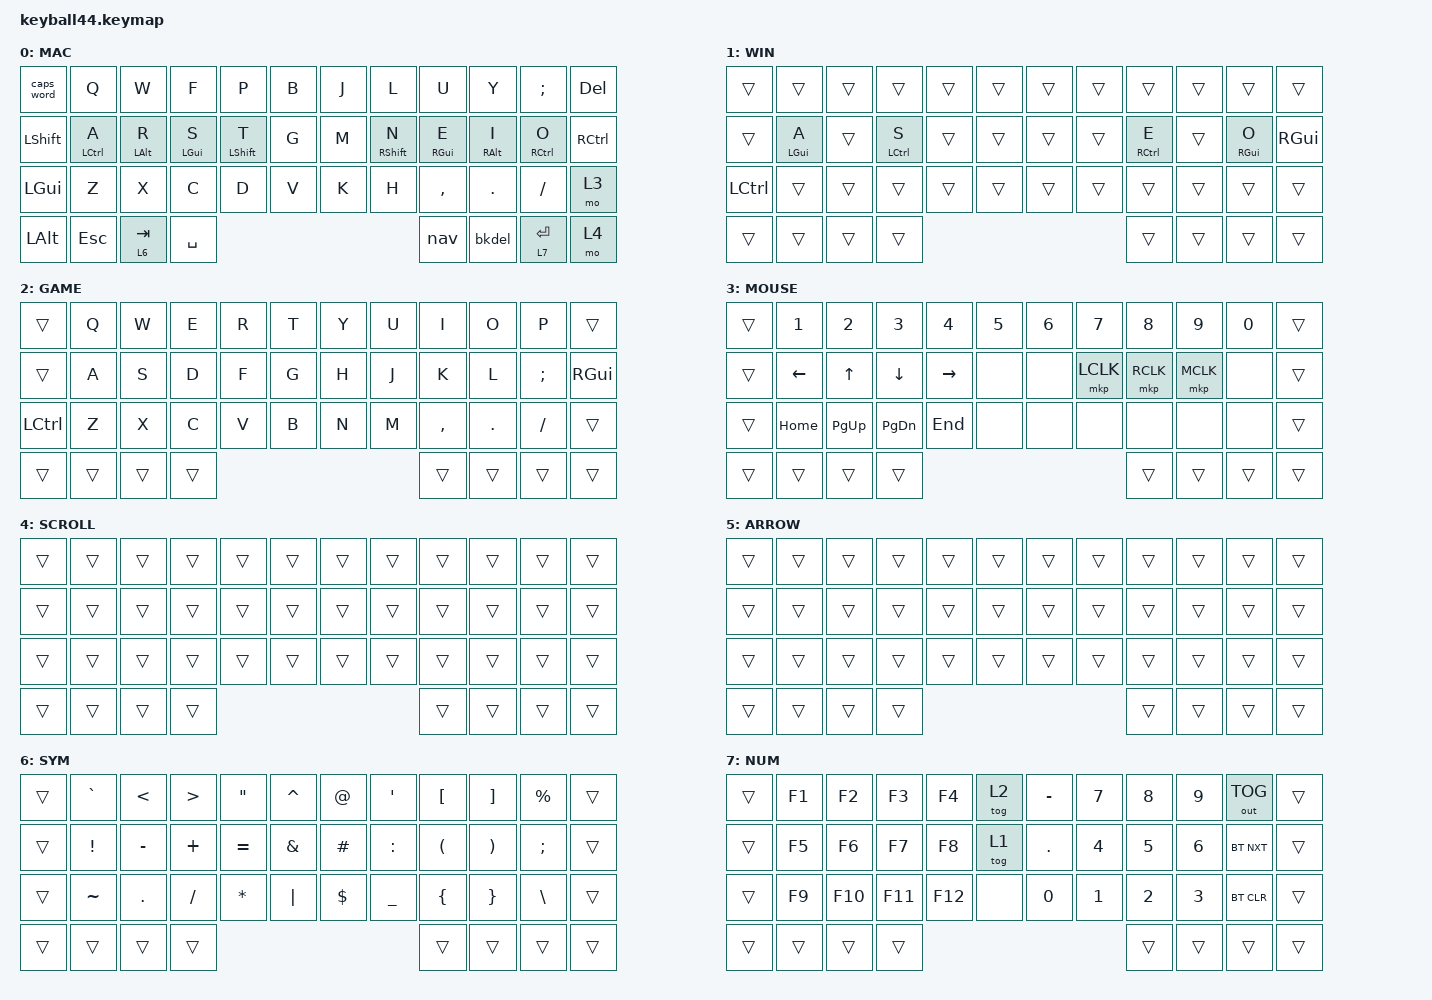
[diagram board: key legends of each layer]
#define DEFAULT 0
#define WIN     1
#define GAME    2
#define MOUSE   3
#define SCROLL  4
#define ARROW   5
#define SYM     6
#define NUM     7

#include <behaviors/mouse_keys.dtsi>
#include <dt-bindings/zmk/mouse.h>
#include <behaviors.dtsi>
#include <dt-bindings/zmk/bt.h>
#include <dt-bindings/zmk/keys.h>
#include <dt-bindings/zmk/outputs.h>
#include <dt-bindings/zmk/pointing.h>

#define KEYS_L   \
     0  1  2  3  4  5    \
    12 13 14 15 16 17    \
    24 25 26 27 28 29    \
    36
#define KEYS_R  \
     6  7  8  9 10 11 \
    18 19 20 21 22 23 \
    30 31 32 33 34 35 \
    43
#define THUMBS_L  \
    37 38 39 40
#define THUMBS_R \
    41 42

&trackball {
    scroll-layers = <SCROLL>;
    snipe-layers = <MOUSE>;

    arrows {
        layers = <ARROW>;
        bindings =
            <&kp RIGHT_ARROW>,
            <&kp LEFT_ARROW>,
            <&kp UP_ARROW>,
            <&kp DOWN_ARROW>;

        tick = <20>;
        wait-ms = <5>;
        tap-ms = <5>;
    };
};

&lt {
    flavor = "balanced";
    quick-tap-ms = <175>;
};

&caps_word { continue-list = <UNDERSCORE MINUS>; };

&sl { release-after-ms = <400>; };

/ {
    behaviors {
        cmqus: comma_question {
            compatible = "zmk,behavior-mod-morph";
            label = "COMMA_QUESTION";
            #binding-cells = <0>;
            bindings = <&kp COMMA>, <&kp QUESTION>;

            mods = <(MOD_LSFT|MOD_RSFT)>;
        };

        dtsmi: dot_semi {
            compatible = "zmk,behavior-mod-morph";
            label = "DOT_SEMI";
            #binding-cells = <0>;
            bindings = <&kp DOT>, <&kp SEMI>;

            mods = <(MOD_LSFT|MOD_RSFT)>;
        };

        bkdel: back_delete {
            compatible = "zmk,behavior-mod-morph";
            label = "BACK_DELETE";
            bindings = <&kp BACKSPACE>, <&kp DEL>;

            #binding-cells = <0>;
            mods = <(MOD_LSFT|MOD_RSFT)>;
        };

        shtl: shift_tap_left {
            compatible = "zmk,behavior-hold-tap";
            label = "SHIFT_TAP_LEFT";
            flavor = "balanced";
            hold-trigger-key-positions = <6 7 8 9 10 11 18 19 20 21 22 23 30 31 32 33 34 35 42 43 41 40 39 38 37>;
            hold-trigger-on-release;
            tapping-term-ms = <280>;
            quick-tap-ms = <175>;
            #binding-cells = <2>;
            bindings = <&kp>, <&kp>;
        };

        shtr: shift_tap_right {
            compatible = "zmk,behavior-hold-tap";
            flavor = "balanced";
            label = "SHIFT_TAP_RIGHT";
            hold-trigger-key-positions = <0 1 2 3 4 5 12 13 14 15 16 17 24 25 26 27 28 29 36 37 38 39 40 41 42>;
            hold-trigger-on-release;
            tapping-term-ms = <280>;
            quick-tap-ms = <175>;
            #binding-cells = <2>;
            bindings = <&kp>, <&kp>;
        };

        hml: home_mod_left {
            compatible = "zmk,behavior-hold-tap";
            label = "HOME_MOD_LEFT";
            flavor = "balanced";
            tapping-term-ms = <280>;
            quick-tap-ms = <175>;
            require-prior-idle-ms = <210>;
            #binding-cells = <2>;
            bindings = <&kp>, <&kp>;

            hold-trigger-key-positions = <6 7 8 9 10 11 18 19 20 21 22 23 30 31 32 33 34 35 42 43 41 40 39 38 37>;
            hold-trigger-on-release;
        };

        hmr: home_mod_right {
            compatible = "zmk,behavior-hold-tap";
            label = "HOME_MOD_RIGHT";
            flavor = "balanced";
            tapping-term-ms = <280>;
            quick-tap-ms = <175>;
            require-prior-idle-ms = <210>;
            #binding-cells = <2>;
            bindings = <&kp>, <&kp>;

            hold-trigger-key-positions = <0 1 2 3 4 5 12 13 14 15 16 17 24 25 26 27 28 29 36 37 38 39 40 41 42>;
            hold-trigger-on-release;
        };

        nav: nav {
            compatible = "zmk,behavior-tap-dance";
            label = "NAV";
            #binding-cells = <0>;
            bindings = <&mo 3>, <&mo 4>, <&mo 5>;

            tapping-term-ms = <280>;
        };
    };

    keymap {
        compatible = "zmk,keymap";

        default_layer {
            label = "MAC";
            bindings = <
&caps_word      &kp Q         &kp W            &kp F            &kp P               &kp B              &kp J        &kp L                &kp U             &kp Y             &kp SEMICOLON  &kp DELETE
&kp LEFT_SHIFT  &hml LCTRL A  &hml LEFT_ALT R  &hml LEFT_GUI S  &shtl LEFT_SHIFT T  &kp G              &kp M        &shtr RIGHT_SHIFT N  &hmr RIGHT_GUI E  &hmr RIGHT_ALT I  &hmr RCTRL O   &kp RIGHT_CONTROL
&kp LEFT_GUI    &kp Z         &kp X            &kp C            &kp D               &kp V              &kp K        &kp H                &kp COMMA         &kp PERIOD        &kp SLASH      &mo 3
&kp LEFT_ALT    &kp ESCAPE    &lt 6 TAB        &kp SPACE        &nav                           &bkdel  &lt 7 ENTER                                                                          &mo 4
            >;
        };

        windows_layer {
            label = "WIN";
            bindings = <
&trans            &trans           &trans  &trans        &trans  &trans              &trans  &trans  &trans        &trans  &trans            &trans
&trans            &hml LEFT_GUI A  &trans  &hml LCTRL S  &trans  &trans              &trans  &trans  &hmr RCTRL E  &trans  &hmr RIGHT_GUI O  &kp RIGHT_GUI
&kp LEFT_CONTROL  &trans           &trans  &trans        &trans  &trans              &trans  &trans  &trans        &trans  &trans            &trans
&trans            &trans           &trans  &trans        &trans              &trans  &trans                                                  &trans
            >;
        };

        game_layer {
            label = "GAME";
            bindings = <
&trans            &kp Q   &kp W   &kp E   &kp R   &kp T              &kp Y   &kp U  &kp I      &kp O    &kp P      &trans
&trans            &kp A   &kp S   &kp D   &kp F   &kp G              &kp H   &kp J  &kp K      &kp L    &kp SEMI   &kp RIGHT_GUI
&kp LEFT_CONTROL  &kp Z   &kp X   &kp C   &kp V   &kp B              &kp N   &kp M  &kp COMMA  &kp DOT  &kp SLASH  &trans
&trans            &trans  &trans  &trans  &trans             &trans  &trans                                        &trans
            >;
        };

        mouse_layer {
            label = "MOUSE";
            bindings = <
&trans  &kp NUMBER_1  &kp NUMBER_2  &kp NUMBER_3    &kp NUMBER_4  &kp NUMBER_5              &kp NUMBER_6  &kp NUMBER_7  &kp NUMBER_8  &kp NUMBER_9  &kp NUMBER_0  &trans
&trans  &kp LEFT      &kp UP_ARROW  &kp DOWN_ARROW  &kp RIGHT     &none                     &none         &mkp LCLK     &mkp RCLK     &mkp MCLK     &none         &trans
&trans  &kp HOME      &kp PAGE_UP   &kp PAGE_DOWN   &kp END       &none                     &none         &none         &none         &none         &none         &trans
&trans  &trans        &trans        &trans          &trans                          &trans  &trans                                                                &trans
            >;
        };

        scroll_layer {
            label = "SCROLL";
            bindings = <
&trans  &trans  &trans  &trans  &trans  &trans              &trans  &trans  &trans  &trans  &trans  &trans
&trans  &trans  &trans  &trans  &trans  &trans              &trans  &trans  &trans  &trans  &trans  &trans
&trans  &trans  &trans  &trans  &trans  &trans              &trans  &trans  &trans  &trans  &trans  &trans
&trans  &trans  &trans  &trans  &trans              &trans  &trans                                  &trans
            >;
        };

        arrow_layer {
            label = "ARROW";
            bindings = <
&trans  &trans  &trans  &trans  &trans  &trans              &trans  &trans  &trans  &trans  &trans  &trans
&trans  &trans  &trans  &trans  &trans  &trans              &trans  &trans  &trans  &trans  &trans  &trans
&trans  &trans  &trans  &trans  &trans  &trans              &trans  &trans  &trans  &trans  &trans  &trans
&trans  &trans  &trans  &trans  &trans              &trans  &trans                                  &trans
            >;
        };

        symbol_layer {
            label = "SYM";
            bindings = <
&trans  &kp GRAVE        &kp LESS_THAN  &kp GREATER_THAN  &kp DOUBLE_QUOTES  &kp CARET              &kp AT      &kp SINGLE_QUOTE  &kp LEFT_BRACKET      &kp RIGHT_BRACKET      &kp PERCENT    &trans
&trans  &kp EXCLAMATION  &kp MINUS      &kp PLUS          &kp EQUAL          &kp AMPS               &kp HASH    &kp COLON         &kp LEFT_PARENTHESIS  &kp RIGHT_PARENTHESIS  &kp SEMICOLON  &trans
&trans  &kp TILDE        &kp PERIOD     &kp SLASH         &kp STAR           &kp PIPE               &kp DOLLAR  &kp UNDER         &kp LEFT_BRACE        &kp RIGHT_BRACE        &kp BACKSLASH  &trans
&trans  &trans           &trans         &trans            &trans                            &trans  &trans                                                                                    &trans
            >;
        };

        number_layer {
            label = "NUM";
            bindings = <
&trans  &kp F1  &kp F2   &kp F3   &kp F4   &tog 2              &kp MINUS   &kp N7        &kp NUMBER_8  &kp NUMBER_9  &out OUT_TOG  &trans
&trans  &kp F5  &kp F6   &kp F7   &kp F8   &tog 1              &kp PERIOD  &kp NUMBER_4  &kp NUMBER_5  &kp NUMBER_6  &bt BT_NXT    &trans
&trans  &kp F9  &kp F10  &kp F11  &kp F12  &none               &kp N0      &kp NUMBER_1  &kp NUMBER_2  &kp NUMBER_3  &bt BT_CLR    &trans
&trans  &trans  &trans   &trans   &trans               &trans  &trans                                                              &trans
            >;
        };
    };
};
